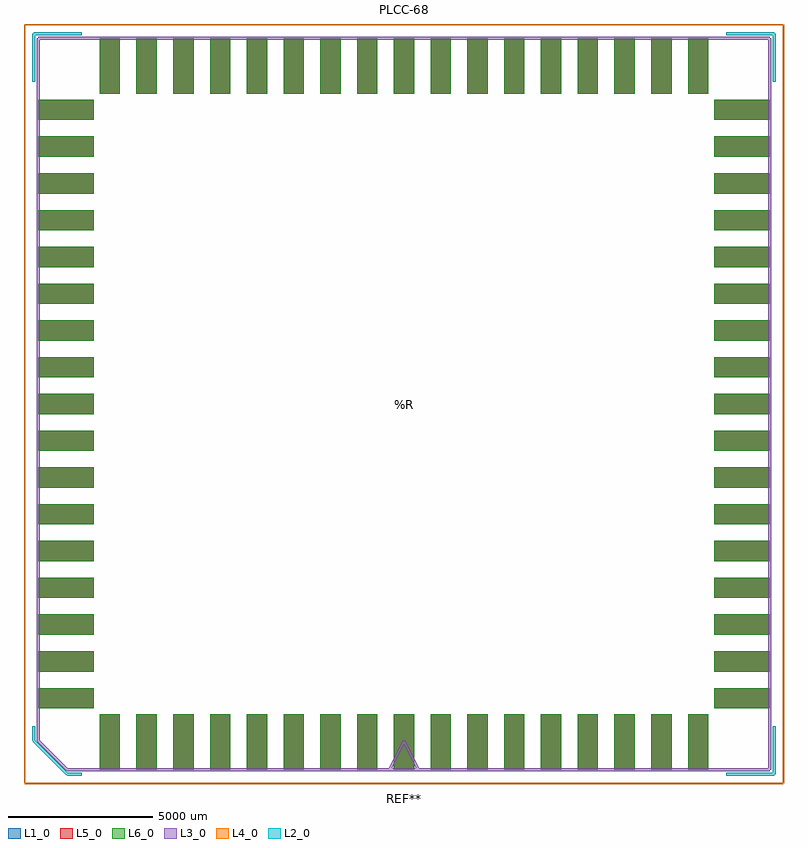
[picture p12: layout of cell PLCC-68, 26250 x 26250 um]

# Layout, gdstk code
import gdstk
lib = gdstk.Library(unit=1e-6, precision=1e-09)
def R(c, l, rs):  # rectangles x0, y0, x1, y1
    for r in rs: c.add(gdstk.rectangle(r[:2], r[2:], *l))
def A(c, l, x, y, w, h, nx, ny, dx, dy):  # array of equal rectangles
    R(c, l, [(x+i*dx, y+j*dy, x+i*dx+w, y+j*dy+h) for i in range(nx) for j in range(ny)])
L1_0 = (1, 0)
L2_0 = (2, 0)
L3_0 = (3, 0)
L4_0 = (4, 0)
L5_0 = (5, 0)
L6_0 = (6, 0)

plcc_68 = lib.new_cell('PLCC-68')
A(plcc_68, L1_0, -10510, -12635, 700, 1925, 17, 2, 1270, 23345)
A(plcc_68, L1_0, -12635, -10510, 1925, 700, 1, 17, 0, 1270)
A(plcc_68, L1_0, 10710, -10510, 1925, 700, 1, 17, 0, 1270)
A(plcc_68, L5_0, -10510, -12635, 700, 1925, 17, 2, 1270, 23345)
A(plcc_68, L5_0, -12635, -10510, 1925, 700, 1, 17, 0, 1270)
A(plcc_68, L5_0, 10710, -10510, 1925, 700, 1, 17, 0, 1270)
A(plcc_68, L6_0, -10510, -12635, 700, 1925, 17, 2, 1270, 23345)
A(plcc_68, L6_0, -12635, -10510, 1925, 700, 1, 17, 0, 1270)
A(plcc_68, L6_0, 10710, -10510, 1925, 700, 1, 17, 0, 1270)
plcc_68.add(gdstk.FlexPath([(-11635,-12635),(-12635,-11635)], 100, ends="flush", simple_path=True, layer=3, datatype=0))  # L3_0
plcc_68.add(gdstk.FlexPath([(-12635,-11635),(-12635,12635)], 100, ends="flush", simple_path=True, layer=3, datatype=0))  # L3_0
plcc_68.add(gdstk.FlexPath([(-12635,12635),(12635,12635)], 100, ends="flush", simple_path=True, layer=3, datatype=0))  # L3_0
plcc_68.add(gdstk.FlexPath([(12635,12635),(12635,-12635)], 100, ends="flush", simple_path=True, layer=3, datatype=0))  # L3_0
plcc_68.add(gdstk.FlexPath([(12635,-12635),(-11635,-12635)], 100, ends="flush", simple_path=True, layer=3, datatype=0))  # L3_0
plcc_68.add(gdstk.FlexPath([(-13100,-13100),(-13100,13100)], 50, ends="flush", simple_path=True, layer=4, datatype=0))  # L4_0
plcc_68.add(gdstk.FlexPath([(-13100,13100),(13100,13100)], 50, ends="flush", simple_path=True, layer=4, datatype=0))  # L4_0
plcc_68.add(gdstk.FlexPath([(13100,13100),(13100,-13100)], 50, ends="flush", simple_path=True, layer=4, datatype=0))  # L4_0
plcc_68.add(gdstk.FlexPath([(13100,-13100),(-13100,-13100)], 50, ends="flush", simple_path=True, layer=4, datatype=0))  # L4_0
plcc_68.add(gdstk.FlexPath([(-500,-12635),(0,-11635)], 100, ends="flush", simple_path=True, layer=3, datatype=0))  # L3_0
plcc_68.add(gdstk.FlexPath([(0,-11635),(500,-12635)], 100, ends="flush", simple_path=True, layer=3, datatype=0))  # L3_0
plcc_68.add(gdstk.FlexPath([(-11135,-12785),(-11635,-12785)], 100, ends="flush", simple_path=True, layer=2, datatype=0))  # L2_0
plcc_68.add(gdstk.FlexPath([(-11635,-12785),(-12785,-11635)], 100, ends="flush", simple_path=True, layer=2, datatype=0))  # L2_0
plcc_68.add(gdstk.FlexPath([(-12785,-11635),(-12785,-11135)], 100, ends="flush", simple_path=True, layer=2, datatype=0))  # L2_0
plcc_68.add(gdstk.FlexPath([(11135,-12785),(12785,-12785)], 100, ends="flush", simple_path=True, layer=2, datatype=0))  # L2_0
plcc_68.add(gdstk.FlexPath([(12785,-12785),(12785,-11135)], 100, ends="flush", simple_path=True, layer=2, datatype=0))  # L2_0
plcc_68.add(gdstk.FlexPath([(-11135,12785),(-12785,12785)], 100, ends="flush", simple_path=True, layer=2, datatype=0))  # L2_0
plcc_68.add(gdstk.FlexPath([(-12785,12785),(-12785,11135)], 100, ends="flush", simple_path=True, layer=2, datatype=0))  # L2_0
plcc_68.add(gdstk.FlexPath([(11135,12785),(12785,12785)], 100, ends="flush", simple_path=True, layer=2, datatype=0))  # L2_0
plcc_68.add(gdstk.FlexPath([(12785,12785),(12785,11135)], 100, ends="flush", simple_path=True, layer=2, datatype=0))  # L2_0
plcc_68.add(gdstk.Label('REF**', (0,-13635), layer=2, texttype=0))
plcc_68.add(gdstk.Label('PLCC-68', (0,13635), layer=3, texttype=0))
plcc_68.add(gdstk.Label('%R', (0,0), layer=3, texttype=0))

lib.write_gds('PLCC-68.gds')
